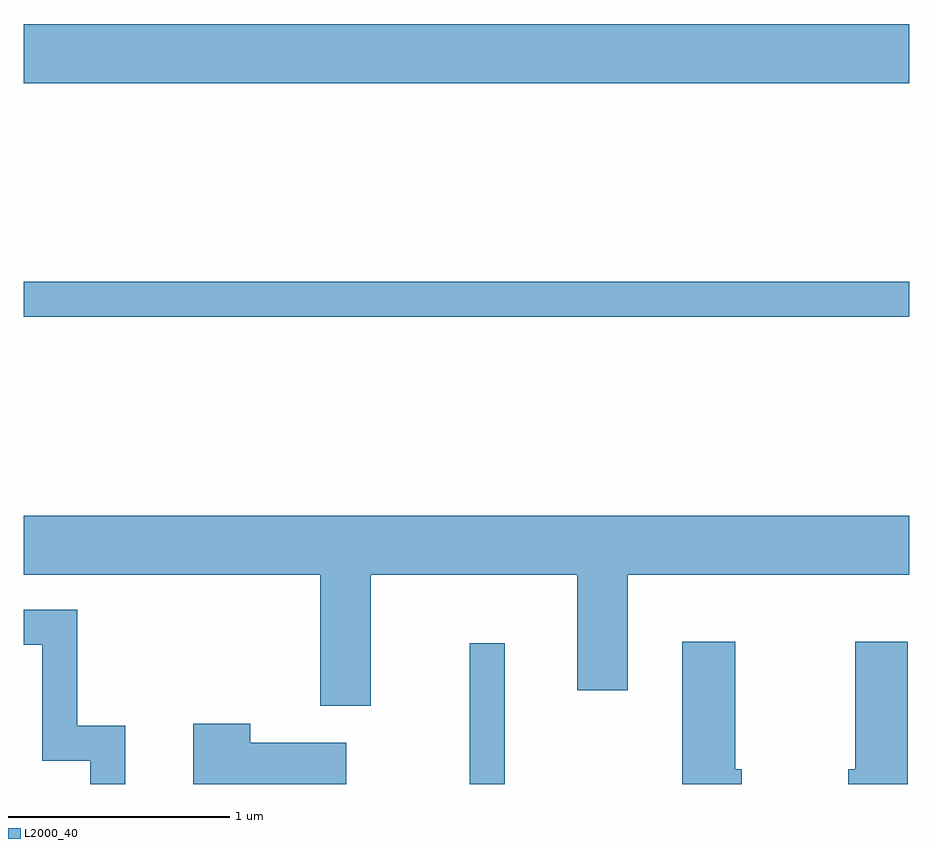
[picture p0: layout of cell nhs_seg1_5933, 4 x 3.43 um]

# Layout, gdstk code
import gdstk
lib = gdstk.Library(unit=1e-6, precision=1e-09)
def R(c, l, rs):  # rectangles x0, y0, x1, y1
    for r in rs: c.add(gdstk.rectangle(r[:2], r[2:], *l))
def P(c, l, *ps):  # polygons
    for p in ps: c.add(gdstk.Polygon(p, *l))
L2000_40 = (2000, 40)

nhs_seg1_5933 = lib.new_cell('nhs_seg1_5933')
R(nhs_seg1_5933, L2000_40, [(365.626,929.712,365.784,930.348), (363.611,931.821,367.611,931.979), (363.611,932.876,367.611,933.144)])
P(nhs_seg1_5933, L2000_40, [(365.179,930.656),(366.111,930.656),(366.111,930.136),(366.339,930.136),(366.339,930.656),(367.611,930.656),(367.611,930.924),(363.611,930.924),(363.611,930.656),(364.951,930.656),(364.951,930.066),(365.179,930.066)],
  [(364.069,929.974),(363.854,929.974),(363.854,930.499),(363.611,930.499),(363.611,930.341),(363.696,930.341),(363.696,929.816),(363.911,929.816),(363.911,929.712),(364.069,929.712)],
  [(366.854,929.779),(366.824,929.779),(366.824,930.354),(366.586,930.354),(366.586,929.712),(366.854,929.712)],
  [(367.604,930.354),(367.366,930.354),(367.366,929.779),(367.336,929.779),(367.336,929.712),(367.604,929.712)],
  [(365.069,929.899),(364.634,929.899),(364.634,929.984),(364.376,929.984),(364.376,929.712),(365.069,929.712)])

lib.write_gds('nhs_seg1_5933.gds')
